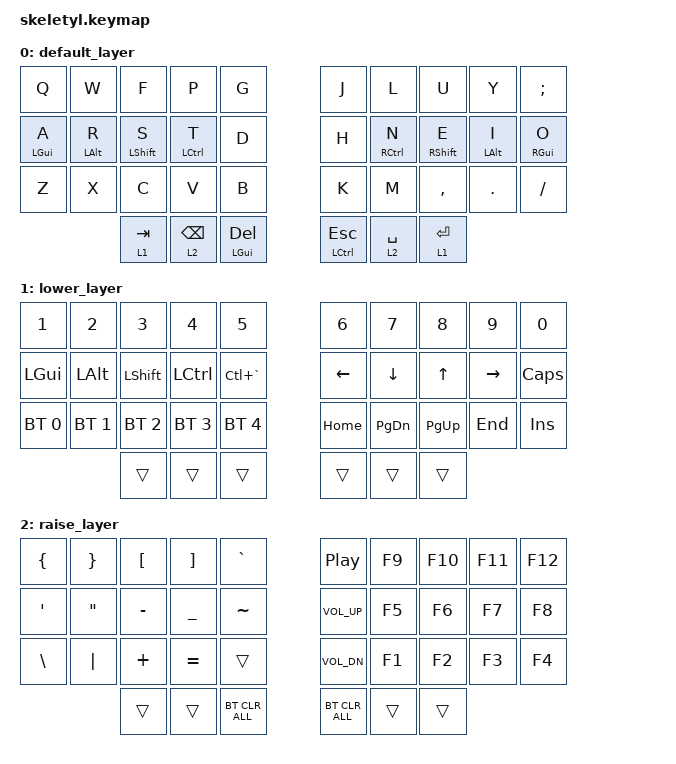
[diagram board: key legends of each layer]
/*
 * Copyright (c) 2020 The ZMK Contributors
 *
 * SPDX-License-Identifier: MIT
 */

#include <behaviors.dtsi>
#include <dt-bindings/zmk/keys.h>
#include <dt-bindings/zmk/bt.h>
#include <dt-bindings/zmk/outputs.h>


/ { 

	behaviors {
		hm: homerow_mods {
			compatible = "zmk,behavior-hold-tap";
			label = "HOMEROW_MODS";
			#binding-cells = <2>;
			tapping-term-ms = <200>;
			quick_tap_ms = <0>;
			flavor = "tap-preferred";
			bindings = <&kp>, <&kp>;
		};
	};

	keymap {
		compatible = "zmk,keymap";

		default_layer {
			bindings = <
				&kp Q       &kp W       &kp F          &kp P          	&kp G                	&kp J          	&kp L         	&kp U          	&kp Y         	&kp SEMI    
				&hm LGUI A  &hm LALT R  &hm LSHIFT S   &hm LCTRL T    	&kp D                	&kp H          	&hm RCTRL N   	&hm RSHIFT E    &hm LALT I    	&hm RGUI O  
				&kp Z       &kp X  	&kp C          &kp V          	&kp B                	&kp K          	&kp M         	&kp COMMA       &kp PERIOD	&kp SLASH    
							&lt 1 TAB      &lt 2 BSPC	&hm LGUI DEL		&hm LCTRL ESC  	&lt 2 SPACE	&lt 1 RET 
			>;
		};

		lower_layer {
			bindings = <
				&kp N1			&kp N2 			&kp N3			&kp N4			&kp N5			&kp N6 		&kp N7		&kp N8	   	&kp N9		&kp N0
				&kp LGUI		&kp LALT 		&kp LSHIFT		&kp LCTRL		&kp LC(GRAVE)  		&kp LEFT	&kp DOWN	&kp UP	   	&kp RIGHT	&kp CAPS
				&bt BT_SEL 0		&bt BT_SEL 1 		&bt BT_SEL 2		&bt BT_SEL 3   		&bt BT_SEL 4		&kp HOME	&kp PG_DN	&kp PG_UP	&kp END		&kp INS
                                						&trans			&trans			&trans			&trans		&trans		&trans
			>;
		};

		raise_layer {
			bindings = <
				&kp LBRC	&kp RBRC 	&kp LBKT	&kp RBKT	&kp GRAVE		&kp C_PP 		&kp F9      	&kp F10		&kp F11		&kp F12
				&kp SQT		&kp DQT		&kp MINUS	&kp UNDER	&kp TILDE	 	&kp C_VOL_UP		&kp F5		&kp F6 	    	&kp F7		&kp F8
				&kp BSLH	&kp PIPE	&kp PLUS   	&kp EQUAL	&trans			&kp C_VOL_DN		&kp F1		&kp F2 		&kp F3		&kp F4
								&trans		&trans		&bt BT_CLR_ALL		&bt BT_CLR_ALL		&trans		&trans
			>;
		};
	};
};
